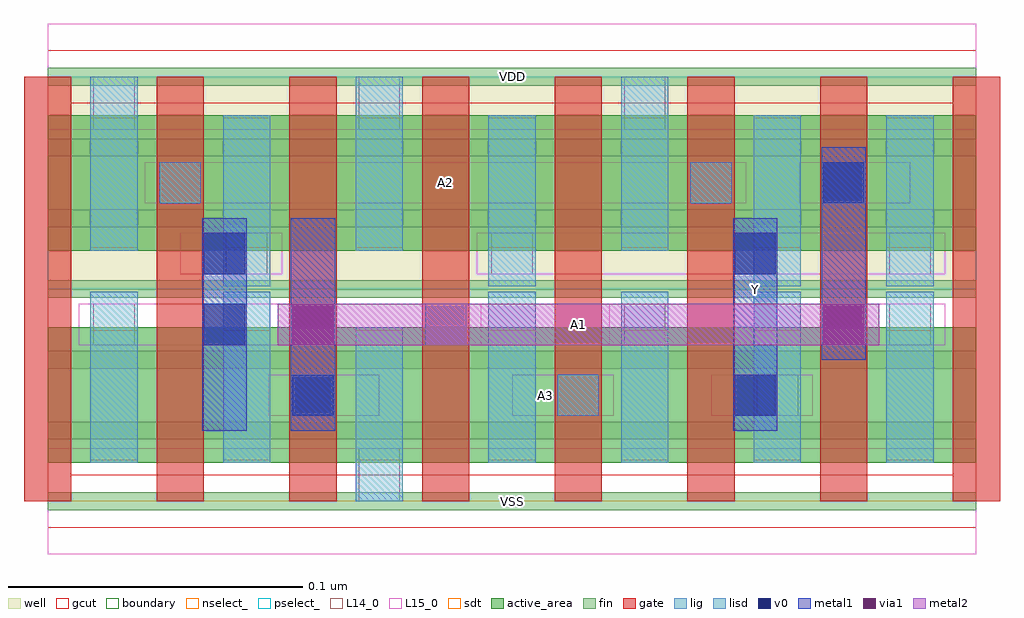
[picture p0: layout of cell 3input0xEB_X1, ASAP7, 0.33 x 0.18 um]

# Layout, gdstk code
import gdstk
lib = gdstk.Library(unit=1e-6, precision=2.5e-10)
def R(c, l, rs):  # rectangles x0, y0, x1, y1
    for r in rs: c.add(gdstk.rectangle(r[:2], r[2:], *l))
def A(c, l, x, y, w, h, nx, ny, dx, dy):  # array of equal rectangles
    R(c, l, [(x+i*dx, y+j*dy, x+i*dx+w, y+j*dy+h) for i in range(nx) for j in range(ny)])
def P(c, l, *ps):  # polygons
    for p in ps: c.add(gdstk.Polygon(p, *l))
well = (1, 0)
fin = (2, 0)
gate = (7, 0)
gcut = (10, 0)
active_area = (11, 0)
nselect_ = (12, 0)
pselect_ = (13, 0)
L14_0 = (14, 0)
L15_0 = (15, 0)
lig = (16, 0)
lisd = (17, 0)
v0 = (18, 0)
metal1 = (19, 0)
metal2 = (20, 0)
via1 = (21, 0)
sdt = (88, 0)
boundary = (100, 0)

c_3input0xeb_x1 = lib.new_cell('3input0xEB_X1')
R(c_3input0xeb_x1, well, [(0,0.072,0.315,0.144)])
A(c_3input0xeb_x1, fin, 0, -0.003, 0.315, 0.006, 1, 7, 0, 0.024)
A(c_3input0xeb_x1, gate, -0.008, 0, 0.016, 0.144, 8, 1, 0.045, 0)
P(c_3input0xeb_x1, gcut, [(0,-0.009),(0,0),(-0.008,0),(-0.008,0.135),(0.008,0.135),(0.008,0.009),(0.307,0.009),(0.307,0.135),(-0.008,0.135),(-0.008,0.144),(0,0.144),(0,0.153),(0.315,0.153),(0.315,0.144),(0.323,0.144),(0.323,0),(0.315,0),(0.315,-0.009)])
R(c_3input0xeb_x1, active_area, [(0,0.013,0.315,0.059), (0,0.085,0.315,0.131)])
R(c_3input0xeb_x1, nselect_, [(0,0,0.315,0.072)])
R(c_3input0xeb_x1, pselect_, [(0,0.072,0.315,0.144)])
A(c_3input0xeb_x1, L14_0, 0.0155, 0.126, 0.014, 0.018, 3, 1, 0.09, 0)
R(c_3input0xeb_x1, L14_0, [(0.1055,0,0.1195,0.018), (0.083,0.029,0.097,0.043), (0.173,0.029,0.187,0.043), (0.2405,0.029,0.2545,0.043), (0.0155,0.053,0.0295,0.067), (0.128,0.053,0.142,0.067), (0.1955,0.053,0.2095,0.067), (0.2855,0.053,0.2995,0.067), (0.0605,0.077,0.0745,0.091), (0.1505,0.077,0.1645,0.091), (0.2855,0.077,0.2995,0.091), (0.038,0.101,0.052,0.115), (0.218,0.101,0.232,0.115), (0.263,0.101,0.277,0.115)])
R(c_3input0xeb_x1, L15_0, [(0,-0.018,0.315,0.018), (0.075,0.029,0.1125,0.043), (0.1575,0.029,0.192,0.043), (0.225,0.029,0.2595,0.043), (0.0105,0.053,0.147,0.067), (0.1905,0.053,0.3045,0.067), (0.045,0.077,0.0795,0.091), (0.1455,0.077,0.3045,0.091), (0.033,0.101,0.237,0.115), (0.255,0.101,0.2925,0.115), (0,0.126,0.315,0.162)])
R(c_3input0xeb_x1, lig, [(0.083,0.029,0.097,0.043), (0.173,0.029,0.187,0.043), (0.128,0.053,0.142,0.067), (0.038,0.101,0.052,0.115), (0.218,0.101,0.232,0.115), (0.263,0.101,0.277,0.115)])
A(c_3input0xeb_x1, lisd, 0.1495, 0.013, 0.016, 0.058, 4, 1, 0.045, 0)
A(c_3input0xeb_x1, lisd, 0.0595, 0.073, 0.016, 0.058, 3, 1, 0.09, 0)
A(c_3input0xeb_x1, lisd, 0.0145, 0.085, 0.016, 0.059, 3, 1, 0.09, 0)
R(c_3input0xeb_x1, lisd, [(0.1045,0,0.1205,0.059), (0.0145,0.013,0.0305,0.071), (0.0595,0.013,0.0755,0.071), (0.2845,0.073,0.3005,0.131)])
R(c_3input0xeb_x1, v0, [(0.083,0.029,0.097,0.043), (0.233,0.029,0.247,0.043), (0.053,0.053,0.067,0.067), (0.053,0.077,0.067,0.091), (0.233,0.077,0.247,0.091), (0.263,0.101,0.277,0.115)])
R(c_3input0xeb_x1, metal1, [(0.0525,0.024,0.0675,0.096), (0.0825,0.024,0.0975,0.096), (0.2325,0.024,0.2475,0.096), (0.2625,0.048,0.2775,0.12)])
R(c_3input0xeb_x1, metal2, [(0.078,0.053,0.282,0.067)])
R(c_3input0xeb_x1, via1, [(0.083,0.053,0.097,0.067), (0.263,0.053,0.277,0.067)])
A(c_3input0xeb_x1, sdt, 0.0145, 0.014, 0.016, 0.044, 7, 2, 0.045, 0.072)
R(c_3input0xeb_x1, boundary, [(0,0,0.315,0.144)])
c_3input0xeb_x1.add(gdstk.Label('A2', (0.135,0.108), layer=15, texttype=251))
c_3input0xeb_x1.add(gdstk.Label('VSS', (0.1575,0), layer=15, texttype=251))
c_3input0xeb_x1.add(gdstk.Label('VDD', (0.1575,0.144), layer=15, texttype=251))
c_3input0xeb_x1.add(gdstk.Label('VSS', (0.1575,0), layer=15, texttype=251))
c_3input0xeb_x1.add(gdstk.Label('VDD', (0.1575,0.144), layer=15, texttype=251))
c_3input0xeb_x1.add(gdstk.Label('VSS', (0.1575,0), layer=15, texttype=251))
c_3input0xeb_x1.add(gdstk.Label('VDD', (0.1575,0.144), layer=15, texttype=251))
c_3input0xeb_x1.add(gdstk.Label('A3', (0.1688,0.036), layer=15, texttype=251))
c_3input0xeb_x1.add(gdstk.Label('VSS', (0.1575,0), layer=15, texttype=251))
c_3input0xeb_x1.add(gdstk.Label('VDD', (0.1575,0.144), layer=15, texttype=251))
c_3input0xeb_x1.add(gdstk.Label('VSS', (0.1575,0), layer=3, texttype=251))
c_3input0xeb_x1.add(gdstk.Label('VSS', (0.1575,0), layer=3, texttype=251))
c_3input0xeb_x1.add(gdstk.Label('VSS', (0.1575,0), layer=3, texttype=251))
c_3input0xeb_x1.add(gdstk.Label('VSS', (0.1575,0), layer=3, texttype=251))
c_3input0xeb_x1.add(gdstk.Label('VDD', (0.1575,0.144), layer=1, texttype=251))
c_3input0xeb_x1.add(gdstk.Label('VDD', (0.1575,0.144), layer=1, texttype=251))
c_3input0xeb_x1.add(gdstk.Label('VDD', (0.1575,0.144), layer=1, texttype=251))
c_3input0xeb_x1.add(gdstk.Label('VDD', (0.1575,0.144), layer=1, texttype=251))
c_3input0xeb_x1.add(gdstk.Label('A1', (0.18,0.06), layer=20, texttype=251))
c_3input0xeb_x1.add(gdstk.Label('Y', (0.24,0.072), layer=19, texttype=251))

lib.write_gds('3input0xEB_X1.gds')
